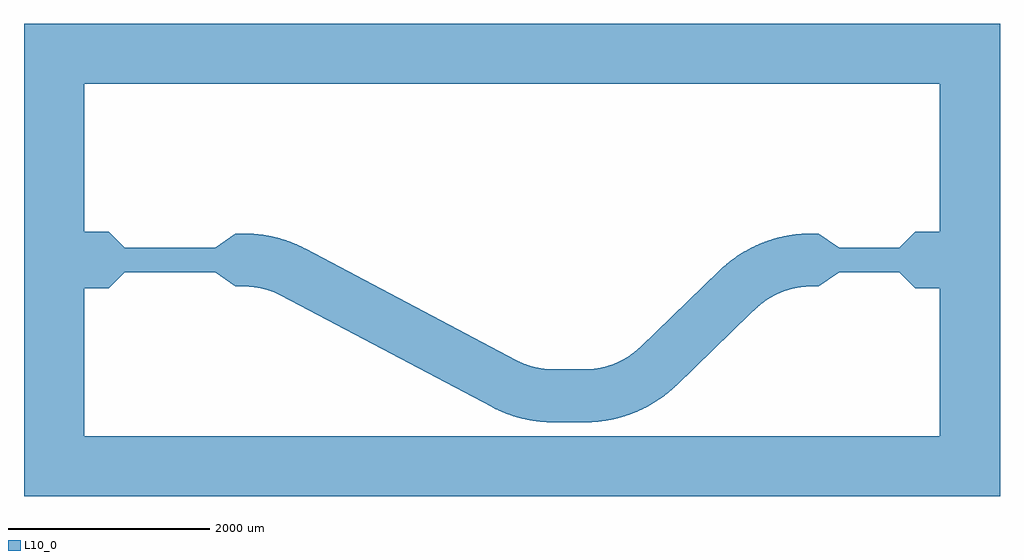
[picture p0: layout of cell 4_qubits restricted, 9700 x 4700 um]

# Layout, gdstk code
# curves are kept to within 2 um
import gdstk
lib = gdstk.Library(unit=1e-6, precision=1e-09)
def P(c, l, *ps):  # polygons
    for p in ps: c.add(gdstk.Polygon(p, *l))
L10_0 = (10, 0)

c_4_qubits_restricted = lib.new_cell('4_qubits restricted')
P(c_4_qubits_restricted, L10_0, [(1000,2228),(1000,2472),(840,2629),(132,2629),(132,2071),(840,2071)],
  [(8700,2472),(8700,2228),(8860,2071),(9568,2071),(9568,2629),(8860,2629)],
  [(9700,0),(9700,4700),(0,4700),(0,2071),(132,2071),(132,2629),(600,2629),(600,4100),(9100,4100),(9100,2629),(9568,2629),(9568,2071),(9100,2071),(9100,600),(600,600),(600,2071),(132,2071),(0,2071),(0,0)],
  [(1900,2472),(2100,2612),(2100,2088),(1900,2228)],
  [(7900,2612),(8100,2472),(8100,2228),(7900,2088)],
  [(1000,2472),(1000,2228),(1000.732,2228),(1899.268,2228),(1900,2228),(1900,2472),(1899.268,2472),(1000.732,2472)],
  [(4926.353,1336.459),(2801.801,2460.02),(2726.394,2496.861),(2657.115,2525.644),(2577.354,2553.224),(2495.983,2575.61),(2422.574,2591.074),(2348.4,2602.311),(2273.705,2609.283),(2100,2612),(2100,2088),(2228.729,2087.011),(2323.745,2076.424),(2422.153,2052.732),(2521.809,2014.227),(4647.817,889.98),(4723.224,853.139),(4827.732,811.464),(4926.353,781.269)],
  [(5585.616,738.031),(5715.839,745.452),(5850.051,766.93),(5850.051,1311.216),(5748.255,1281.043),(5637.748,1264.408),(5581.887,1262.022),(5237.758,1262.324),(5153.675,1269.262),(5076.287,1283.836),(5000.745,1306.081),(4926.353,1336.459),(4926.353,781.269),(5045.525,755.718),(5175.913,740.717),(5250.885,738.032)],
  [(5853.794,767.727),(5988.592,804.571),(6058.661,830.04),(6127.168,859.453),(6193.891,892.717),(6258.614,929.722),(6373.852,1008.766),(6480.015,1099.636),(7219.267,1814.148),(7219.267,2465.954),(7146.017,2425.104),(7075.531,2379.651),(7008.098,2329.78),(6943.994,2275.696),(6081.002,1445.452),(6027.781,1404.608),(5971.271,1368.451),(5911.883,1337.244),(5850.051,1311.216),(5850.051,766.93)],
  [(7273.761,1866.822),(7337.405,1922.118),(7406.209,1970.035),(7479.725,2010.35),(7557.118,2042.605),(7637.506,2066.433),(7719.975,2081.561),(7792.406,2087.501),(7900,2088),(7900,2612),(7783.084,2611.471),(7708.651,2607.23),(7625.357,2597.406),(7542.863,2582.273),(7461.506,2561.892),(7381.62,2536.346),(7303.533,2505.741),(7219.267,2465.954),(7219.267,1814.148)],
  [(8100,2472),(8100,2228),(8100.732,2228),(8699.268,2228),(8700,2228),(8700,2472),(8699.268,2472),(8100.732,2472)])

lib.write_gds('4_qubits_restricted.gds')
